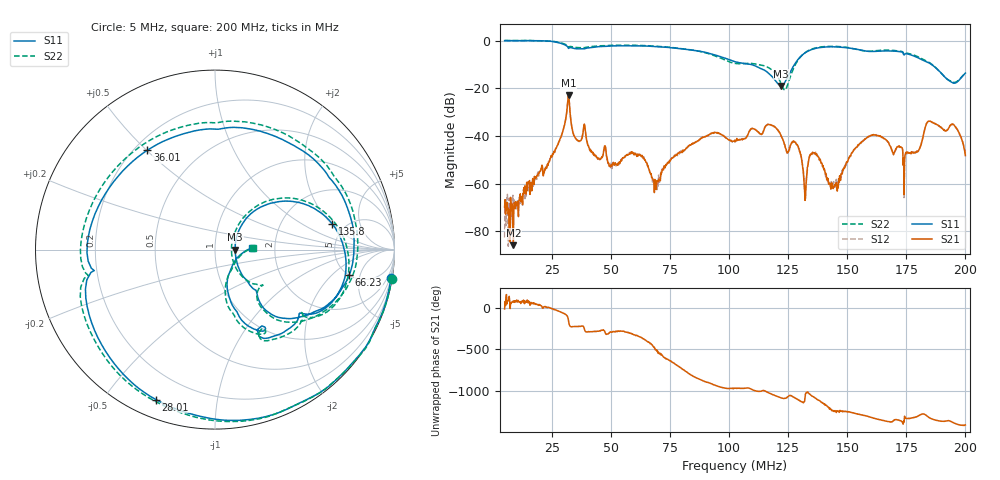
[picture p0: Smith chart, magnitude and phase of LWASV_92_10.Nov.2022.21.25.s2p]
!Keysight Technologies N9917A: A.12.46
!Date: Thursday, 10 November 2022 21:25:36
!Timezone: (UTC) Coordinated Universal Time
!Model: N9917A
!Serial: MY56071016
!GPS Latitude:
!GPS Longitude:
!GPS TimeStamp: 0001-01-01 00:00:00Z
!GPS Seconds Since Last Read: 0
!CHECKSUM:0081505172
!Correction: S11(ON U)S21(ON U)S12(ON U)S22(ON U)
!S2P File: Measurements:S11,S21,S12,S22:
# Hz S DB R 50
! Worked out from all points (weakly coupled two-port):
!   1001 points, 5 MHz to 200 MHz, reference 50 ohm
!   highest |S21| = -22.79 dB at 32.1 MHz (marker M1); lowest = -85.8 dB at 8.705 MHz (marker M2)
!   lowest |S11| = -19.0 dB at 122 MHz (marker M3), VSWR 1.25, Z = 62.6 + j0.0421 ohm
!   |S11| at or under -10 dB: 109.1 MHz to 127.7 MHz (18.59 MHz wide, 15.7 % of centre); 185.6 MHz to end of sweep
!   |S22| runs from -20.7 to 0.0 dB; largest |S21 - S12| = 0.0011
!   S11 on the Smith chart (normalised r, x): 5 MHz: 0, -13; 28.01 MHz: 0.08, -0.68; 36.01 MHz: 0.25, +0.50; 66.23 MHz: 5.04, -3.37; 135.8 MHz: 3.95, +2.04; 200 MHz: 1.52, +0.03
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5000000  -0.04 -9.0  -69.83 -14.2  -82.58 -39.8  0.01 -9.3
8705000  -0.03 -17.3  -85.77 82.5  -70.70 83.4  -0.02 -17.6
2.801e7  -0.94 -111.5  -42.46 -41.1  -42.34 -41.8  -0.80 -109.9
3.2105e7  -3.31 -170.1  -22.79 -166.0  -22.76 -166.4  -2.85 -168.5
3.6005e7  -3.48 124.3  -41.89 135.6  -41.92 136.2  -2.98 126.6
3.7565e7  -3.48 102.2  -41.25 140.3  -41.49 140.6  -2.99 104.3
4.712e7  -2.47 33.9  -45.37 85.9  -45.88 90.4  -2.16 33.7
6.623e7  -2.38 -10.7  -54.32 -57.9  -54.30 -59.7  -2.20 -12.4
7.013e7  -2.61 -16.7  -58.47 -174.0  -56.43 -173.1  -2.44 -18.5
8.8655e7  -4.69 -41.0  -40.62 -152.1  -40.49 -152.0  -4.81 -44.7
1.025e8  -8.89 -48.3  -41.73 115.4  -42.67 117.8  -9.59 -44.1
1.22e8  -19.04 0.2  -39.92 0.3  -39.94 0.8  -18.03 -34.6
1.28825e8  -8.39 41.1  -43.60 -16.3  -43.59 -16.1  -8.75 44.8
1.3214e8  -5.16 27.7  -67.02 9.7  -66.53 -27.2  -5.09 29.7
1.35065e8  -3.73 15.3  -47.73 20.7  -47.27 23.6  -3.56 16.0
1.35845e8  -3.48 12.3  -47.06 9.2  -47.50 8.3  -3.30 12.6
1.4501e8  -2.66 -15.8  -60.53 -155.5  -61.37 -170.2  -2.46 -17.3
1.5788e8  -4.43 -36.3  -41.13 145.0  -40.93 145.3  -4.46 -36.6
1.6763e8  -4.36 -45.4  -43.13 75.9  -43.04 73.8  -4.03 -46.1
1.7465e8  -5.57 -57.9  -47.58 120.0  -47.26 120.5  -5.34 -58.6
1.84985e8  -9.59 -72.5  -33.79 118.5  -33.85 118.3  -9.37 -76.3
2e8  -13.65 2.6  -48.22 36.2  -47.62 37.1  -13.51 2.9
